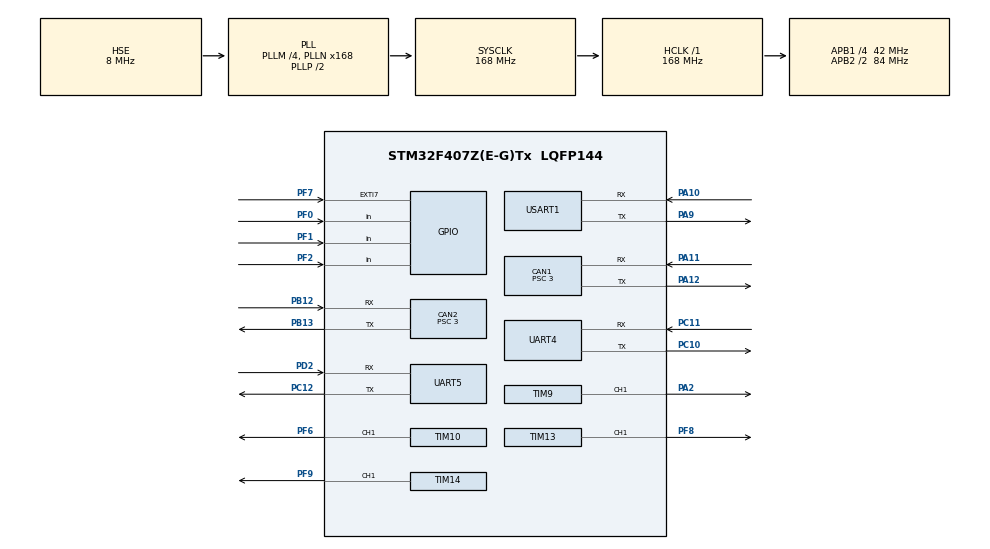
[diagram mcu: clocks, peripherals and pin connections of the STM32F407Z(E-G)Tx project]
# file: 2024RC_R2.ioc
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CAN1.ABOM=ENABLE
CAN1.BS1=CAN_BS1_9TQ
CAN1.BS2=CAN_BS2_4TQ
CAN1.CalculateBaudRate=1000000
CAN1.CalculateTimeBit=1000
CAN1.CalculateTimeQuantum=71.42857142857143
CAN1.Prescaler=3
CAN2.ABOM=ENABLE
CAN2.BS1=CAN_BS1_9TQ
CAN2.BS2=CAN_BS2_4TQ
CAN2.CalculateBaudRate=1000000
CAN2.CalculateTimeBit=1000
CAN2.CalculateTimeQuantum=71.42857142857143
CAN2.Prescaler=3
FREERTOS.Mutexes01=safe_printf,Dynamic,NULL
FREERTOS.Tasks01=defaultTask,24,512,StartDefaultTask,Default,NULL,Dynamic,NULL,NULL;ROS_32_Serial,8,512,ROS_32_Serial_Function,Default,NULL,Dynamic,NULL,NULL;Motor_Control,8,512,Motor_Control_Function,Default,NULL,Dynamic,NULL,NULL;U8_and_VESC,8,512,U8_and_VESC_Function,Default,NULL,Dynamic,NULL,NULL
Mcu.Family=STM32F4
Mcu.Name=STM32F407Z(E-G)Tx
Mcu.Package=LQFP144
NVIC.CAN1_RX0_IRQn=true\:2\:0\:true\:false\:true\:false\:true\:true\:true
NVIC.CAN1_RX1_IRQn=true\:2\:0\:true\:false\:true\:false\:true\:true\:true
NVIC.CAN1_SCE_IRQn=true\:2\:0\:true\:false\:true\:false\:true\:true\:true
NVIC.CAN1_TX_IRQn=true\:2\:0\:true\:false\:true\:false\:true\:true\:true
NVIC.CAN2_RX0_IRQn=true\:5\:0\:false\:false\:true\:true\:true\:true\:true
NVIC.CAN2_RX1_IRQn=true\:5\:0\:false\:false\:true\:true\:true\:true\:true
NVIC.CAN2_SCE_IRQn=true\:5\:0\:false\:false\:true\:true\:true\:true\:true
NVIC.CAN2_TX_IRQn=true\:5\:0\:false\:false\:true\:true\:true\:true\:true
NVIC.EXTI9_5_IRQn=true\:5\:0\:true\:false\:true\:false\:true\:true\:true
NVIC.PriorityGroup=NVIC_PRIORITYGROUP_4
NVIC.TIM2_IRQn=true\:5\:0\:false\:false\:true\:true\:true\:true\:true
NVIC.TIM3_IRQn=true\:15\:0\:false\:false\:true\:false\:false\:true\:true
NVIC.TimeBase=TIM3_IRQn
NVIC.TimeBaseIP=TIM3
NVIC.UART4_IRQn=true\:5\:0\:false\:false\:true\:true\:true\:true\:true
NVIC.UART5_IRQn=true\:5\:0\:false\:false\:true\:true\:true\:true\:true
NVIC.USART1_IRQn=true\:5\:0\:false\:false\:true\:true\:true\:true\:true
PA10.Mode=Asynchronous
PA10.Signal=USART1_RX
PA11.Mode=CAN_Activate
PA11.Signal=CAN1_RX
PA12.Mode=CAN_Activate
PA12.Signal=CAN1_TX
PA13.Mode=Serial_Wire
PA13.Signal=SYS_JTMS-SWDIO
PA14.Mode=Serial_Wire
PA14.Signal=SYS_JTCK-SWCLK
PA2.GPIO_PuPd=GPIO_PULLUP
PA2.GPIO_Speed=GPIO_SPEED_FREQ_HIGH
PA2.Signal=S_TIM9_CH1
PA9.Mode=Asynchronous
PA9.Signal=USART1_TX
PB12.Mode=CAN_Activate
PB12.Signal=CAN2_RX
PB13.Mode=CAN_Activate
PB13.Signal=CAN2_TX
PC10.GPIO_ModeDefaultPP=GPIO_MODE_AF_PP
PC10.GPIO_PuPd=GPIO_PULLUP
PC10.Mode=Asynchronous
PC10.Signal=UART4_TX
PC11.GPIO_PuPd=GPIO_PULLUP
PC11.Mode=Asynchronous
PC11.Signal=UART4_RX
PC12.GPIO_PuPd=GPIO_PULLUP
PC12.Mode=Asynchronous
PC12.Signal=UART5_TX
PC14-OSC32_IN.Mode=LSE-External-Oscillator
PC14-OSC32_IN.Signal=RCC_OSC32_IN
PC15-OSC32_OUT.Mode=LSE-External-Oscillator
PC15-OSC32_OUT.Signal=RCC_OSC32_OUT
PD2.GPIO_PuPd=GPIO_PULLUP
PD2.Mode=Asynchronous
PD2.Signal=UART5_RX
PF0.GPIO_PuPd=GPIO_PULLUP
PF0.Signal=GPIO_Input
PF1.GPIO_PuPd=GPIO_PULLUP
PF1.Signal=GPIO_Input
PF2.GPIO_PuPd=GPIO_PULLUP
PF2.Signal=GPIO_Input
PF6.GPIO_PuPd=GPIO_PULLUP
PF6.GPIO_Speed=GPIO_SPEED_FREQ_HIGH
PF6.Signal=S_TIM10_CH1
PF7.GPIO_PuPd=GPIO_NOPULL
PF7.Signal=GPXTI7
PF8.GPIO_PuPd=GPIO_PULLUP
PF8.GPIO_Speed=GPIO_SPEED_FREQ_HIGH
PF8.Signal=S_TIM13_CH1
PF9.GPIO_PuPd=GPIO_PULLUP
PF9.GPIO_Speed=GPIO_SPEED_FREQ_HIGH
PF9.Signal=S_TIM14_CH1
PH0-OSC_IN.Mode=HSE-External-Oscillator
PH0-OSC_IN.Signal=RCC_OSC_IN
PH1-OSC_OUT.Mode=HSE-External-Oscillator
PH1-OSC_OUT.Signal=RCC_OSC_OUT
ProjectManager.HeapSize=0x200
ProjectManager.StackSize=0x400
ProjectManager.TargetToolchain=MDK-ARM V5.32
RCC.48MHZClocksFreq_Value=84000000
RCC.AHBFreq_Value=168000000
RCC.APB1CLKDivider=RCC_HCLK_DIV4
RCC.APB1Freq_Value=42000000
RCC.APB1TimFreq_Value=84000000
RCC.APB2CLKDivider=RCC_HCLK_DIV2
RCC.APB2Freq_Value=84000000
RCC.APB2TimFreq_Value=168000000
RCC.CortexFreq_Value=168000000
RCC.HCLKFreq_Value=168000000
RCC.HSE_VALUE=8000000
RCC.HSI_VALUE=16000000
RCC.PLLM=4
RCC.PLLN=168
RCC.PLLSourceVirtual=RCC_PLLSOURCE_HSE
RCC.SYSCLKFreq_VALUE=168000000
RCC.SYSCLKSource=RCC_SYSCLKSOURCE_PLLCLK
RCC.VCOOutputFreq_Value=336000000
SH.S_TIM10_CH1.0=TIM10_CH1,PWM Generation1 CH1
SH.S_TIM13_CH1.0=TIM13_CH1,PWM Generation1 CH1
SH.S_TIM14_CH1.0=TIM14_CH1,PWM Generation1 CH1
SH.S_TIM9_CH1.0=TIM9_CH1,PWM Generation1 CH1
TIM10.AutoReloadPreload=TIM_AUTORELOAD_PRELOAD_ENABLE
TIM10.Channel=TIM_CHANNEL_1
TIM10.Period=19999
TIM10.Prescaler=83
TIM13.AutoReloadPreload=TIM_AUTORELOAD_PRELOAD_ENABLE
TIM13.Channel=TIM_CHANNEL_1
TIM13.Period=19999
TIM13.Prescaler=83
TIM14.AutoReloadPreload=TIM_AUTORELOAD_PRELOAD_ENABLE
TIM14.Channel=TIM_CHANNEL_1
TIM14.Period=19999
TIM14.Prescaler=83
TIM2.AutoReloadPreload=TIM_AUTORELOAD_PRELOAD_ENABLE
TIM2.Period=10000
TIM2.Prescaler=83
TIM9.AutoReloadPreload=TIM_AUTORELOAD_PRELOAD_ENABLE
TIM9.Channel-PWM\ Generation1\ CH1=TIM_CHANNEL_1
TIM9.Period=19999
TIM9.Prescaler=83
UART4.VirtualMode=Asynchronous
UART5.VirtualMode=Asynchronous
USART1.VirtualMode=VM_ASYNC
VP_FREERTOS_VS_CMSIS_V2.Mode=CMSIS_V2
VP_SYS_VS_tim3.Mode=TIM3
VP_TIM10_VS_ClockSourceINT.Mode=Enable_Timer
VP_TIM13_VS_ClockSourceINT.Mode=Enable_Timer
VP_TIM14_VS_ClockSourceINT.Mode=Enable_Timer
VP_TIM2_VS_ClockSourceINT.Mode=Internal
VP_TIM9_VS_ClockSourceINT.Mode=Internal
board=custom

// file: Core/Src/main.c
/* USER CODE BEGIN Header */
/**
  ******************************************************************************
  * @file           : main.c
  * @brief          : Main program body
  ******************************************************************************
  * @attention
  *
  * Copyright (c) 2023 STMicroelectronics.
  * All rights reserved.
  *
  * This software is licensed under terms that can be found in the LICENSE file
  * in the root directory of this software component.
  * If no LICENSE file comes with this software, it is provided AS-IS.
  *
  ******************************************************************************
  */
/* USER CODE END Header */
#include "main.h"
#include "cmsis_os.h"
#include "can.h"
#include "tim.h"
#include "usart.h"
#include "gpio.h"

void SystemClock_Config(void);
void MX_FREERTOS_Init(void);

int main(void)
{

  /* MCU Configuration--------------------------------------------------------*/

  /* Reset of all peripherals, Initializes the Flash interface and the Systick. */
  HAL_Init();

  /* Configure the system clock */
  SystemClock_Config();

  /* Initialize all configured peripherals */
  MX_GPIO_Init();
  MX_CAN1_Init();
  MX_CAN2_Init();
  MX_USART1_UART_Init();
  MX_TIM2_Init();
  MX_UART5_Init();
  MX_TIM10_Init();
  MX_TIM13_Init();
  MX_TIM9_Init();
  MX_TIM14_Init();
  MX_UART4_Init();
  /* USER CODE BEGIN 2 */

    User_Open_Can1();
    User_Open_Can2();

    Pid_Init_All();
    Motor_Type_Init();
    VESC_Init();
    HAL_TIM_Base_Start_IT(&htim2);

    extern unsigned char USART_Receiver1;
    extern UART_HandleTypeDef huart1;
    HAL_UART_Receive_IT(&huart1, &USART_Receiver1, 1);
	HAL_UART_Receive_IT(&huart4,&USART_Receiver1,1);

    HaoYing_U8_Init();
    extern uint8_t test;

  /* USER CODE END 2 */

  /* Init scheduler */
  osKernelInitialize();  /* Call init function for freertos objects (in freertos.c) */
  MX_FREERTOS_Init();

  /* Start scheduler */
  osKernelStart();
  /* We should never get here as control is now taken by the scheduler */
  /* Infinite loop */
  while (1)
  {

  }
}

void SystemClock_Config(void)
{
  RCC_OscInitTypeDef RCC_OscInitStruct = {0};
  RCC_ClkInitTypeDef RCC_ClkInitStruct = {0};

  /** Configure the main internal regulator output voltage
  */
  __HAL_RCC_PWR_CLK_ENABLE();
  __HAL_PWR_VOLTAGESCALING_CONFIG(PWR_REGULATOR_VOLTAGE_SCALE1);

  /** Initializes the RCC Oscillators according to the specified parameters
  * in the RCC_OscInitTypeDef structure.
  */
  RCC_OscInitStruct.OscillatorType = RCC_OSCILLATORTYPE_HSE;
  RCC_OscInitStruct.HSEState = RCC_HSE_ON;
  RCC_OscInitStruct.PLL.PLLState = RCC_PLL_ON;
  RCC_OscInitStruct.PLL.PLLSource = RCC_PLLSOURCE_HSE;
  RCC_OscInitStruct.PLL.PLLM = 4;
  RCC_OscInitStruct.PLL.PLLN = 168;
  RCC_OscInitStruct.PLL.PLLP = RCC_PLLP_DIV2;
  RCC_OscInitStruct.PLL.PLLQ = 4;
  if (HAL_RCC_OscConfig(&RCC_OscInitStruct) != HAL_OK)
  {
    Error_Handler();
  }

  /** Initializes the CPU, AHB and APB buses clocks
  */
  RCC_ClkInitStruct.ClockType = RCC_CLOCKTYPE_HCLK|RCC_CLOCKTYPE_SYSCLK
                              |RCC_CLOCKTYPE_PCLK1|RCC_CLOCKTYPE_PCLK2;
  RCC_ClkInitStruct.SYSCLKSource = RCC_SYSCLKSOURCE_PLLCLK;
  RCC_ClkInitStruct.AHBCLKDivider = RCC_SYSCLK_DIV1;
  RCC_ClkInitStruct.APB1CLKDivider = RCC_HCLK_DIV4;
  RCC_ClkInitStruct.APB2CLKDivider = RCC_HCLK_DIV2;

  if (HAL_RCC_ClockConfig(&RCC_ClkInitStruct, FLASH_LATENCY_5) != HAL_OK)
  {
    Error_Handler();
  }
}

/* USER CODE BEGIN 4 */
extern uint32_t TIME_ISR_CNT,LAST_TIME_ISR_CNT;
extern uint16_t Microsecond_Cnt;

/* USER CODE END 4 */

void HAL_TIM_PeriodElapsedCallback(TIM_HandleTypeDef *htim)
{
  if (htim->Instance == TIM3) {
    HAL_IncTick();
  }
  /* USER CODE BEGIN Callback 1 */

    if (htim->Instance == TIM2)  // tim2
    {
        LAST_TIME_ISR_CNT = TIME_ISR_CNT;
        TIME_ISR_CNT++;
        Microsecond_Cnt++;
        if (Microsecond_Cnt >= 1000)
        {
        Microsecond_Cnt = 0;
        Time_Sys[Second]++;
        if (Time_Sys[Second] >= 60)
        {
            Time_Sys[Second] = 0;
            Time_Sys[Minute]++;
            if (Time_Sys[Minute] >= 60)
            {
            Time_Sys[Minute] = 0;
            Time_Sys[Hour]++;
            }
        }
        }
        Time_Sys[MicroSecond] = Microsecond_Cnt;
    }

  /* USER CODE END Callback 1 */
}

void Error_Handler(void)
{
  __disable_irq();
  while (1)
  {
  }
}

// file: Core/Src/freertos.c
/* USER CODE BEGIN Header */
/**
  ******************************************************************************
  * File Name          : freertos.c
  * Description        : Code for freertos applications
  ******************************************************************************
  * @attention
  *
  * Copyright (c) 2023 STMicroelectronics.
  * All rights reserved.
  *
  * This software is licensed under terms that can be found in the LICENSE file
  * in the root directory of this software component.
  * If no LICENSE file comes with this software, it is provided AS-IS.
  *
  ******************************************************************************
  */
/* USER CODE END Header */

#include "FreeRTOS.h"
#include "task.h"
#include "main.h"
#include "cmsis_os.h"

/* USER CODE BEGIN PM */
#define DEBUG_PRINTF_ENABLE 0
/* USER CODE END PM */

/* Definitions for defaultTask */
osThreadId_t defaultTaskHandle;
const osThreadAttr_t defaultTask_attributes = {
  .name = "defaultTask",
  .stack_size = 512 * 4,
  .priority = (osPriority_t) osPriorityNormal,
};
/* Definitions for ROS_32_Serial */
osThreadId_t ROS_32_SerialHandle;
const osThreadAttr_t ROS_32_Serial_attributes = {
  .name = "ROS_32_Serial",
  .stack_size = 512 * 4,
  .priority = (osPriority_t) osPriorityLow,
};
/* Definitions for Motor_Control */
osThreadId_t Motor_ControlHandle;
const osThreadAttr_t Motor_Control_attributes = {
  .name = "Motor_Control",
  .stack_size = 512 * 4,
  .priority = (osPriority_t) osPriorityLow,
};
/* Definitions for U8_and_VESC */
osThreadId_t U8_and_VESCHandle;
const osThreadAttr_t U8_and_VESC_attributes = {
  .name = "U8_and_VESC",
  .stack_size = 512 * 4,
  .priority = (osPriority_t) osPriorityLow,
};
/* Definitions for safe_printf */
osMutexId_t safe_printfHandle;
const osMutexAttr_t safe_printf_attributes = {
  .name = "safe_printf"
};

/* USER CODE BEGIN FunctionPrototypes */
void debug_safe_printf(const char *format, ...)
{
#if DEBUG_PRINTF_ENABLE

  HAL_UART_MspInit(&huart5);

  osStatus xReturn;
  va_list args;
  va_start(args,format);

  xReturn = osMutexAcquire(safe_printfHandle,portMAX_DELAY);
  if(xReturn == osOK)
  {
    vprintf(format, args);
  }
  xReturn = osMutexRelease(safe_printfHandle);

#else
  HAL_UART_MspDeInit(&huart5);//为了用uart5进行串口数据传输的调试，不用时关�?
  (void)0;
#endif
}
/* USER CODE END FunctionPrototypes */

void StartDefaultTask(void *argument);
void ROS_32_Serial_Function(void *argument);
void Motor_Control_Function(void *argument);
void U8_and_VESC_Function(void *argument);

void MX_FREERTOS_Init(void); /* (MISRA C 2004 rule 8.1) */

void MX_FREERTOS_Init(void) {
  /* Create the mutex(es) */
  /* creation of safe_printf */
  safe_printfHandle = osMutexNew(&safe_printf_attributes);

  /* Create the thread(s) */
  /* creation of defaultTask */
  defaultTaskHandle = osThreadNew(StartDefaultTask, NULL, &defaultTask_attributes);

  /* creation of ROS_32_Serial */
  ROS_32_SerialHandle = osThreadNew(ROS_32_Serial_Function, NULL, &ROS_32_Serial_attributes);

  /* creation of Motor_Control */
  Motor_ControlHandle = osThreadNew(Motor_Control_Function, NULL, &Motor_Control_attributes);

  /* creation of U8_and_VESC */
  U8_and_VESCHandle = osThreadNew(U8_and_VESC_Function, NULL, &U8_and_VESC_attributes);

}

void StartDefaultTask(void *argument)
{
  /* USER CODE BEGIN StartDefaultTask */

    extern uint8_t test;

  /* Infinite loop */
  for(;;)
  {

    // comm_can_set_current(101,3);
    /* Infinite loop */

    for(;;)
    {
      // VESC_MOTO_INFO[0].MOTOR_MODE = CURRENT;
      // VESC_MOTO_INFO[0].TARGET_CURRENT = 1;
      // VESC_Control(&VESC_MOTO_INFO[0]);

      // comm_can_set_rpm(101,1000);
      //debug_safe_printf("test_id = %d\r\n",test_id);

      debug_safe_printf("LEFT_X = %d\r\n", YaoGan_LEFT_X);
      debug_safe_printf("LEFT_Y = %d\r\n", YaoGan_LEFT_Y);
      debug_safe_printf("RIGHT_X = %d\r\n", YaoGan_RIGHT_X);
      debug_safe_printf("RIGHT_Y = %d\r\n", YaoGan_RIGHT_Y);
      // debug_safe_printf("u8 = %d\r\n",TIM10->CCR1);
      //debug_safe_printf("SWA = %d\r\n", SWA);
      //debug_safe_printf("SWB = %d\r\n", SWB);
      //debug_safe_printf("SWC = %d\r\n", SWC);
      //debug_safe_printf("SWD = %d\r\n", SWD);
      // debug_safe_printf("test = %d",test);
      // Usart_Send_Data_Test(0,0,1.2,1);
      osDelay(1);
    }
  }
  /* USER CODE END StartDefaultTask */
}

void ROS_32_Serial_Function(void *argument)
{
  /* USER CODE BEGIN ROS_32_Serial_Function */

  /* Infinite loop */
  for(;;)
  {

    //向ros上位机发送数据，控制位ROS_AUTO_CONTROL�?1时，进行自动模式，为0时为手动
    Usart_Send_Data(MOTO_REAL_INFO[0].RPM,MOTO_REAL_INFO[1].RPM,MOTO_REAL_INFO[2].RPM,MOTO_REAL_INFO[3].RPM,
                    MOTO_REAL_INFO[0].REAL_ANGLE,MOTO_REAL_INFO[1].REAL_ANGLE,MOTO_REAL_INFO[2].REAL_ANGLE,MOTO_REAL_INFO[3].REAL_ANGLE,1);
    osDelay(1);
  }
  /* USER CODE END ROS_32_Serial_Function */
}

void Motor_Control_Function(void *argument)
{
  /* USER CODE BEGIN Motor_Control_Function */

  /* Infinite loop */
  for(;;)
  {
    Robot_Wheels_Adjust();  //????
    Motor_Control();        //?????????
    osDelay(1);

    // Velocity_Planning_setpos(&MOTO_REAL_INFO[0],0,8000,100,2000,10,0.15,0.15);
    // Motor_Control_All(&MOTO_REAL_INFO[0], &VESC_MOTO_INFO[0], VESC_5065, VELOCITY_PLANNING_MODE, 0, 0);
  }
  /* USER CODE END Motor_Control_Function */
}

void U8_and_VESC_Function(void *argument)
{
  /* USER CODE BEGIN U8_and_VESC_Function */
  /* Infinite loop */
  for(;;)
  {
    for(int8_t i=0; i<3; i++)
    {
      VESC_Control(&VESC_MOTO_INFO[i]);
    }
    Robot_Control_Mode(); //?????
    // if(SWD>=950 && SWD<=1050)
    // {
    //   u8_speed_set(0,U8_PWM_PIN6);
    //   u8_speed_set(0,U8_PWM_PIN8);
    // }

    // if(SWD>=1950 && SWD<=2050)
    // {
    //   u8_speed_set(10,U8_PWM_PIN6);
    //   u8_speed_set(10,U8_PWM_PIN8);
    // }

    // if(SWD>=950 && SWD<=1050)
    // {
    //   TIM10->CCR1 = 2000;
    // }
    // if(SWD>=1950 && SWD<=2050)
    // {
    //   TIM10->CCR1 = 3000;
    // }
    // if(HAL_GPIO_ReadPin(GPIOF,GPIO_PIN_0) == 0)
    // {
    //   TIM10->CCR1 = 2000;
    //   TIM13->CCR1 = 1000;
    // }
    // if(HAL_GPIO_ReadPin(GPIOF,GPIO_PIN_1) == 0)
    // {
    //   TIM10->CCR1 = 3000;
    //   TIM13->CCR1 = 1500;
    // }
    // if(HAL_GPIO_ReadPin(GPIOF,GPIO_PIN_2) == 0)
    // {
    //   TIM10->CCR1 = 4000;
    //   TIM13->CCR1 = 2000;
    // }
    osDelay(1);
  }
  /* USER CODE END U8_and_VESC_Function */
}
